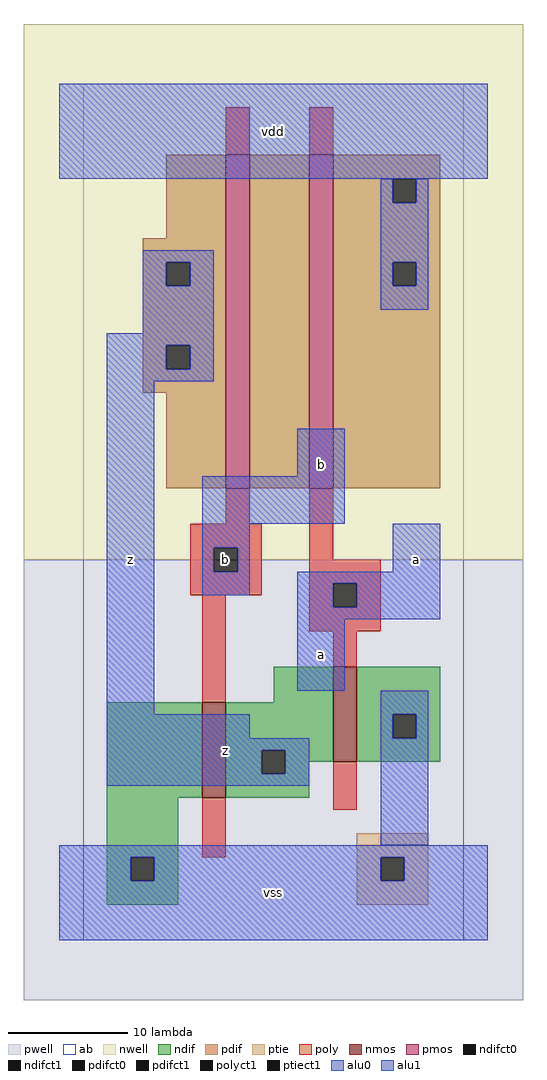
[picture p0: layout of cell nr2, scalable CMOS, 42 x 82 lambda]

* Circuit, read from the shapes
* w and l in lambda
.subckt nr2 a b vdd vss z
M1 z b vss vss nfet w=8 l=2
M2 vss a z vss nfet w=8 l=2
M3 n1 b z n2 pfet w=28 l=2
M4 vdd a n1 n2 pfet w=28 l=2
.ends

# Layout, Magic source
magic
tech scmos
<< ab >>
rect 0 0 32 72
<< nwell >>
rect -5 32 37 77
<< pwell >>
rect -5 -5 37 32
<< poly >>
rect 12 66 14 70
rect 19 66 21 70
rect 12 35 14 38
rect 9 33 15 35
rect 9 31 11 33
rect 13 31 15 33
rect 9 29 15 31
rect 19 32 21 38
rect 19 30 25 32
rect 10 20 12 29
rect 19 28 21 30
rect 23 28 25 30
rect 19 26 25 28
rect 21 23 23 26
rect 10 7 12 12
rect 21 11 23 15
<< ndif >>
rect 16 20 21 23
rect 2 12 10 20
rect 12 16 21 20
rect 12 14 15 16
rect 17 15 21 16
rect 23 19 30 23
rect 23 17 26 19
rect 28 17 30 19
rect 23 15 30 17
rect 17 14 19 15
rect 12 12 19 14
rect 2 7 8 12
rect 2 5 4 7
rect 6 5 8 7
rect 2 3 8 5
<< pdif >>
rect 7 59 12 66
rect 5 57 12 59
rect 5 55 7 57
rect 9 55 12 57
rect 5 50 12 55
rect 5 48 7 50
rect 9 48 12 50
rect 5 46 12 48
rect 7 38 12 46
rect 14 38 19 66
rect 21 64 30 66
rect 21 62 26 64
rect 28 62 30 64
rect 21 57 30 62
rect 21 55 26 57
rect 28 55 30 57
rect 21 38 30 55
<< alu1 >>
rect -2 64 34 72
rect 5 57 11 58
rect 5 55 7 57
rect 9 55 11 57
rect 5 51 11 55
rect 2 50 11 51
rect 2 48 7 50
rect 9 48 11 50
rect 2 47 11 48
rect 2 19 6 47
rect 18 39 22 43
rect 10 35 22 39
rect 10 33 14 35
rect 10 31 11 33
rect 13 31 14 33
rect 26 31 30 35
rect 10 29 14 31
rect 18 30 30 31
rect 18 28 21 30
rect 23 28 30 30
rect 18 27 30 28
rect 18 21 22 27
rect 2 17 14 19
rect 2 16 19 17
rect 2 14 15 16
rect 17 14 19 16
rect 2 13 19 14
rect -2 7 34 8
rect -2 5 4 7
rect 6 5 25 7
rect 27 5 34 7
rect -2 0 34 5
<< ptie >>
rect 23 7 29 9
rect 23 5 25 7
rect 27 5 29 7
rect 23 3 29 5
<< nmos >>
rect 10 12 12 20
rect 21 15 23 23
<< pmos >>
rect 12 38 14 66
rect 19 38 21 66
<< polyct1 >>
rect 11 31 13 33
rect 21 28 23 30
<< ndifct0 >>
rect 26 17 28 19
<< ndifct1 >>
rect 15 14 17 16
rect 4 5 6 7
<< ptiect1 >>
rect 25 5 27 7
<< pdifct0 >>
rect 26 62 28 64
rect 26 55 28 57
<< pdifct1 >>
rect 7 55 9 57
rect 7 48 9 50
<< alu0 >>
rect 25 62 26 64
rect 28 62 29 64
rect 25 57 29 62
rect 25 55 26 57
rect 28 55 29 57
rect 25 53 29 55
rect 25 19 29 21
rect 25 17 26 19
rect 28 17 29 19
rect 25 8 29 17
<< labels >>
rlabel alu1 4 32 4 32 6 z
rlabel alu1 12 16 12 16 6 z
rlabel polyct1 12 32 12 32 6 b
rlabel alu1 16 4 16 4 6 vss
rlabel alu1 20 24 20 24 6 a
rlabel alu1 20 40 20 40 6 b
rlabel alu1 16 68 16 68 6 vdd
rlabel alu1 28 32 28 32 6 a
<< end >>
